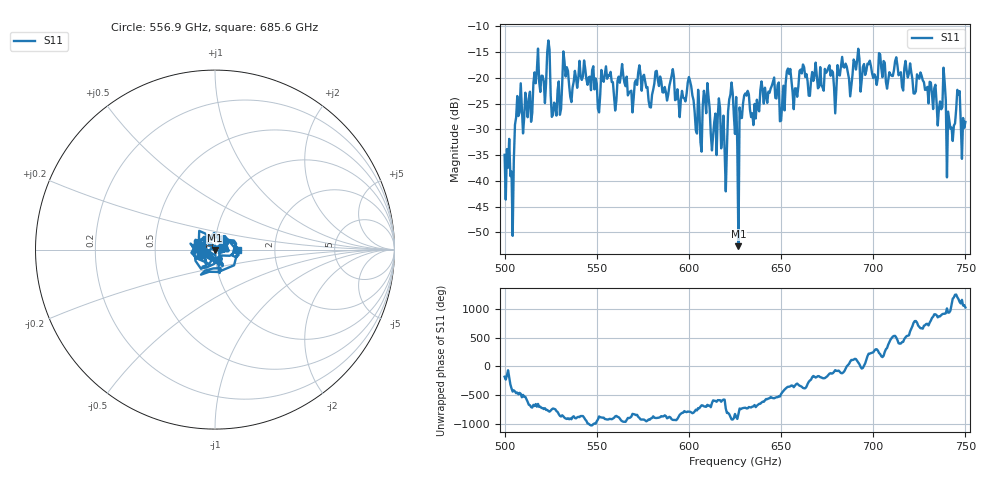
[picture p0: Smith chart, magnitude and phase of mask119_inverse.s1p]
!Created with skrf (http://scikit-rf.org).
# GHz S MA R 50.0
!freq magS11 angS11
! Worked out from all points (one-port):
!   401 points, 500 GHz to 750 GHz, reference 50 ohm
!   lowest |S11| = -52.7 dB at 626.9 GHz (marker M1), VSWR 1.00, Z = 49.9 - j0.224 ohm
!   |S11| at or under -10 dB: start of sweep to end of sweep
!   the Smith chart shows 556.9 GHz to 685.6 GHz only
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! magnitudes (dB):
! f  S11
! 500 GHz  -35.0
! 504.4 GHz  -50.7
! 507.5 GHz  -27.4
! 513.8 GHz  -22.7
! 516.9 GHz  -21.0
! 523.8 GHz  -12.7
! 526.9 GHz  -24.8
! 531.2 GHz  -21.1
! 562.5 GHz  -20.9
! 590.6 GHz  -19.6
! 593.8 GHz  -22.2
! 600.6 GHz  -20.6
! 605.6 GHz  -25.7
! 609.4 GHz  -26.9
! 618.8 GHz  -27.3
! 622.5 GHz  -23.3
! 625 GHz  -30.9
! 625.6 GHz  -23.7
! 626.9 GHz  -52.7
! 631.2 GHz  -23.4
! 635 GHz  -29.2
! 656.2 GHz  -22.8
! 687.5 GHz  -23.6
! 718.8 GHz  -19.9
! 738.1 GHz  -18.0
! 741.2 GHz  -28.2
! 745.6 GHz  -22.3
! 750 GHz  -28.6
